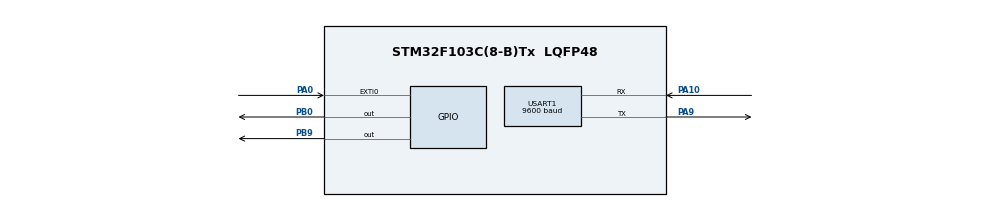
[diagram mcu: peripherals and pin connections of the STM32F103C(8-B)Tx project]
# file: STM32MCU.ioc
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Mcu.Family=STM32F1
Mcu.Name=STM32F103C(8-B)Tx
Mcu.Package=LQFP48
NVIC.EXTI0_IRQn=true\:0\:0\:false\:false\:true\:true\:true\:true
NVIC.PriorityGroup=NVIC_PRIORITYGROUP_4
NVIC.USART1_IRQn=true\:0\:0\:false\:false\:true\:true\:true\:true
PA0-WKUP.GPIO_PuPd=GPIO_PULLDOWN
PA0-WKUP.Signal=GPXTI0
PA10.Mode=Asynchronous
PA10.Signal=USART1_RX
PA13.Mode=Serial_Wire
PA13.Signal=SYS_JTMS-SWDIO
PA14.Mode=Serial_Wire
PA14.Signal=SYS_JTCK-SWCLK
PA9.Mode=Asynchronous
PA9.Signal=USART1_TX
PB0.Signal=GPIO_Output
PB9.Signal=GPIO_Output
PD0-OSC_IN.Mode=HSE-External-Oscillator
PD0-OSC_IN.Signal=RCC_OSC_IN
PD1-OSC_OUT.Mode=HSE-External-Oscillator
PD1-OSC_OUT.Signal=RCC_OSC_OUT
ProjectManager.HeapSize=0x200
ProjectManager.StackSize=0x400
ProjectManager.TargetToolchain=CMake
RCC.APB1Freq_Value=8000000
RCC.APB2Freq_Value=8000000
USART1.BaudRate=9600
USART1.VirtualMode=VM_ASYNC
board=custom

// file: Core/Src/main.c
/* USER CODE BEGIN Header */
/**
  ******************************************************************************
  * @file           : main.c
  * @brief          : Main program body
  ******************************************************************************
  * @attention
  *
  * Copyright (c) 2026 STMicroelectronics.
  * All rights reserved.
  *
  * This software is licensed under terms that can be found in the LICENSE file
  * in the root directory of this software component.
  * If no LICENSE file comes with this software, it is provided AS-IS.
  *
  ******************************************************************************
  */
/* USER CODE END Header */
#include "main.h"
#include "stm32f103xb.h"
#include "stm32f1xx_hal_cortex.h"
#include "stm32f1xx_hal_def.h"
#include "stm32f1xx_hal_gpio.h"
#include "stm32f1xx_hal_uart.h"

/* USER CODE BEGIN Includes */
#include <stdint.h>
#include <string.h>
#include <stdbool.h>
/* USER CODE END Includes */

UART_HandleTypeDef huart1;

/* USER CODE BEGIN PV */
uint8_t alert_flag = 0;

uint8_t rx_index;
uint8_t rx_data;
uint8_t rx_buffer[100];
volatile uint8_t rx_flag = 0;

/* USER CODE END PV */

void SystemClock_Config(void);
static void MX_GPIO_Init(void);
static void MX_USART1_UART_Init(void);

/* USER CODE BEGIN 0 */
void ESP8266_SendAT(char *cmd) {
    HAL_UART_Transmit(&huart1, (uint8_t *)cmd, strlen(cmd), 1000);
}

// void ESP8266_ReceiveAT() {
//     HAL_UART_Receive_IT(&huart1, &rx_data, 6);

// }

/* USER CODE END 0 */

int main(void)
{

  /* MCU Configuration--------------------------------------------------------*/

  /* Reset of all peripherals, Initializes the Flash interface and the Systick. */
  HAL_Init();

  /* Configure the system clock */
  SystemClock_Config();

  /* Initialize all configured peripherals */
  MX_GPIO_Init();
  MX_USART1_UART_Init();
  /* USER CODE BEGIN 2 */
  HAL_UART_Receive_IT(&huart1, &rx_data, 1);

  /* USER CODE END 2 */

  /* Infinite loop */
  /* USER CODE BEGIN WHILE */
  while (1)
  {

    if (rx_flag == 1) {
        if (strcmp((char*)rx_buffer, "PIRoff") == 0) {
            HAL_NVIC_DisableIRQ(EXTI0_IRQn);
            HAL_GPIO_WritePin(GPIOB, GPIO_PIN_0, GPIO_PIN_RESET);
            alert_flag = 0;
        }
        else if (strcmp((char*)rx_buffer, "PIRon") == 0) {
            __HAL_GPIO_EXTI_CLEAR_IT(GPIO_PIN_0);
            HAL_NVIC_ClearPendingIRQ(EXTI0_IRQn);
            alert_flag = 0;
            HAL_GPIO_WritePin(GPIOB, GPIO_PIN_0, GPIO_PIN_RESET);
            HAL_NVIC_EnableIRQ(EXTI0_IRQn);
        }

        rx_index = 0;
        rx_flag = 0;
        memset(rx_buffer, 0, sizeof(rx_buffer));
    }

    if (alert_flag == 1) {
        ESP8266_SendAT("ALARM\n");
        HAL_Delay(3000);

        HAL_GPIO_WritePin(GPIOB, GPIO_PIN_0, GPIO_PIN_RESET);
        alert_flag = 0;
    }
    /* USER CODE END WHILE */

  }
}

void SystemClock_Config(void)
{
  RCC_OscInitTypeDef RCC_OscInitStruct = {0};
  RCC_ClkInitTypeDef RCC_ClkInitStruct = {0};

  /** Initializes the RCC Oscillators according to the specified parameters
  * in the RCC_OscInitTypeDef structure.
  */
  RCC_OscInitStruct.OscillatorType = RCC_OSCILLATORTYPE_HSI;
  RCC_OscInitStruct.HSIState = RCC_HSI_ON;
  RCC_OscInitStruct.HSICalibrationValue = RCC_HSICALIBRATION_DEFAULT;
  RCC_OscInitStruct.PLL.PLLState = RCC_PLL_NONE;
  if (HAL_RCC_OscConfig(&RCC_OscInitStruct) != HAL_OK)
  {
    Error_Handler();
  }

  /** Initializes the CPU, AHB and APB buses clocks
  */
  RCC_ClkInitStruct.ClockType = RCC_CLOCKTYPE_HCLK|RCC_CLOCKTYPE_SYSCLK
                              |RCC_CLOCKTYPE_PCLK1|RCC_CLOCKTYPE_PCLK2;
  RCC_ClkInitStruct.SYSCLKSource = RCC_SYSCLKSOURCE_HSI;
  RCC_ClkInitStruct.AHBCLKDivider = RCC_SYSCLK_DIV1;
  RCC_ClkInitStruct.APB1CLKDivider = RCC_HCLK_DIV1;
  RCC_ClkInitStruct.APB2CLKDivider = RCC_HCLK_DIV1;

  if (HAL_RCC_ClockConfig(&RCC_ClkInitStruct, FLASH_LATENCY_0) != HAL_OK)
  {
    Error_Handler();
  }
}

static void MX_USART1_UART_Init(void)
{

  huart1.Instance = USART1;
  huart1.Init.BaudRate = 9600;
  huart1.Init.WordLength = UART_WORDLENGTH_8B;
  huart1.Init.StopBits = UART_STOPBITS_1;
  huart1.Init.Parity = UART_PARITY_NONE;
  huart1.Init.Mode = UART_MODE_TX_RX;
  huart1.Init.HwFlowCtl = UART_HWCONTROL_NONE;
  huart1.Init.OverSampling = UART_OVERSAMPLING_16;
  if (HAL_UART_Init(&huart1) != HAL_OK)
  {
    Error_Handler();
  }

}

static void MX_GPIO_Init(void)
{
  GPIO_InitTypeDef GPIO_InitStruct = {0};

  /* GPIO Ports Clock Enable */
  __HAL_RCC_GPIOD_CLK_ENABLE();
  __HAL_RCC_GPIOA_CLK_ENABLE();
  __HAL_RCC_GPIOB_CLK_ENABLE();

  /*Configure GPIO pin Output Level */
  HAL_GPIO_WritePin(GPIOB, GPIO_PIN_0|GPIO_PIN_9, GPIO_PIN_RESET);

  /*Configure GPIO pin : PA0 */
  GPIO_InitStruct.Pin = GPIO_PIN_0;
  GPIO_InitStruct.Mode = GPIO_MODE_IT_RISING;
  GPIO_InitStruct.Pull = GPIO_PULLDOWN;
  HAL_GPIO_Init(GPIOA, &GPIO_InitStruct);

  /*Configure GPIO pins : PB0 PB9 */
  GPIO_InitStruct.Pin = GPIO_PIN_0|GPIO_PIN_9;
  GPIO_InitStruct.Mode = GPIO_MODE_OUTPUT_PP;
  GPIO_InitStruct.Pull = GPIO_NOPULL;
  GPIO_InitStruct.Speed = GPIO_SPEED_FREQ_LOW;
  HAL_GPIO_Init(GPIOB, &GPIO_InitStruct);

  /* EXTI interrupt init*/
  HAL_NVIC_SetPriority(EXTI0_IRQn, 0, 0);
  HAL_NVIC_EnableIRQ(EXTI0_IRQn);

  /* USER CODE BEGIN MX_GPIO_Init_2 */
  /*Configure GPIO pins : PA10 PA11 */
  GPIO_InitStruct.Pin = GPIO_PIN_10|GPIO_PIN_11;
  GPIO_InitStruct.Mode = GPIO_MODE_OUTPUT_PP;
  GPIO_InitStruct.Pull = GPIO_NOPULL;
  GPIO_InitStruct.Speed = GPIO_SPEED_FREQ_LOW;
  HAL_GPIO_Init(GPIOA, &GPIO_InitStruct);

  /* USER CODE END MX_GPIO_Init_2 */
}

/* USER CODE BEGIN 4 */
void HAL_GPIO_EXTI_Callback(uint16_t GPIO_Pin) {
    if (GPIO_Pin == GPIO_PIN_0) {
        HAL_GPIO_WritePin(GPIOB, GPIO_PIN_0, GPIO_PIN_SET);

        alert_flag = 1;
    }
}

void HAL_UART_RxCpltCallback(UART_HandleTypeDef *huart) {
  if (huart->Instance == USART1) {
    if (rx_flag == 0) {

      if (rx_data != (uint8_t)'\n' && rx_data != (uint8_t)'\r') {
        rx_buffer[rx_index++] = rx_data;
      }

      if (rx_data == (uint8_t)'\n' || rx_data == (uint8_t)'\r' || rx_index >= (uint8_t)98) {
          rx_buffer[rx_index] = '\0';
          rx_flag = 1;
      }
    }

    HAL_UART_Receive_IT(&huart1, &rx_data, 1);
  }
}
/* USER CODE END 4 */

void Error_Handler(void)
{
  __disable_irq();
  while (1)
  {
  }
}
